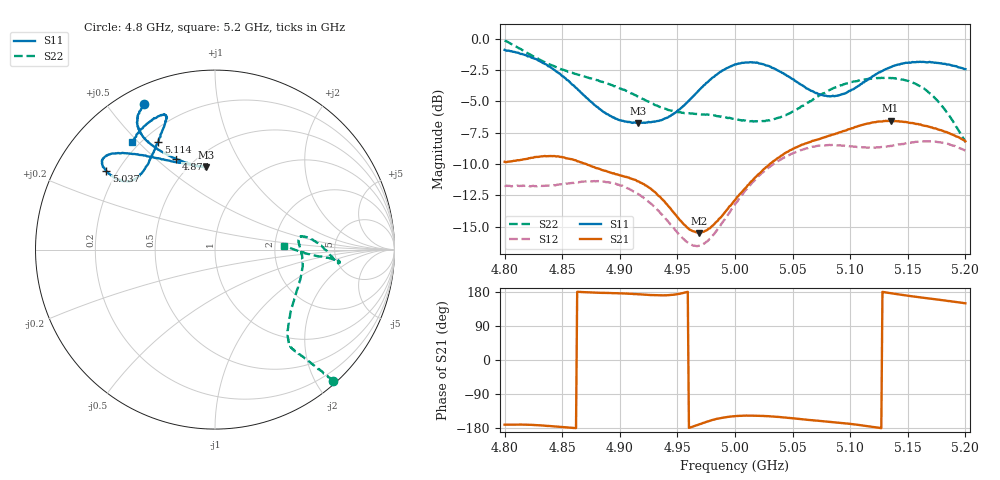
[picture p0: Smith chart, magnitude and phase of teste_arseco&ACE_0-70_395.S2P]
! Network Analyzer HP8722D
! Hewlett-Packard
! Data name: Linha & Wilkinson
! Saver's name: Rodrigo Anjos
! Comments: Teste da utilização de aquisição
! continua pelo VNA HP8722D
! Time and date: 8/5/2025 16:03
!  Frequency  S11  S21  S12  S22
# HZ  S  MA R 50
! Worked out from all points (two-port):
!   401 points, 4.8 GHz to 5.2 GHz, reference 50 ohm
!   highest |S21| = -6.54 dB at 5.135 GHz (marker M1); lowest = -15.5 dB at 4.969 GHz (marker M2)
!   |S21| within 3 dB of the highest: 4.821 GHz to 4.854 GHz (33.13 MHz wide, 0.685 % of centre); 5.037 GHz to end of sweep
!   lowest |S11| = -6.7 dB at 4.916 GHz (marker M3), VSWR 2.71, Z = 30 + j34.9 ohm
!   |S11| at or under -10 dB: nowhere
!   |S22| runs from -8.3 to -0.2 dB; largest |S21 - S12| = 0.83
!   S11 on the Smith chart (normalised r, x): 4.8 GHz: 0.07, +0.62; 4.877 GHz: 0.40, +0.58; 5.037 GHz: 0.16, +0.32; 5.114 GHz: 0.26, +0.57; 5.2 GHz: 0.17, +0.48
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4.8e9  0.9011 115.9  0.3229 -170.7  0.2587 -86.2  0.9824 -48.0
4.817e9  0.8622 119.9  0.3306 -170.7  0.259 -82.5  0.8904 -48.9
4.835e9  0.7921 122.4  0.3406 -173.2  0.2591 -76.8  0.8043 -50.1
4.867e9  0.6047 117.5  0.3208 179.2  0.2692 -67.9  0.7118 -51.9
4.877e9  0.5489 113.1  0.308 177.9  0.2704 -66.9  0.6896 -52.2
4.899e9  0.4743 101.5  0.2863 175.8  0.2618 -67.4  0.6371 -50.4
4.916e9  0.4611 96.3  0.2699 173.4  0.2403 -69.1  0.5868 -45.9
4.934e9  0.4699 100.1  0.2357 170.6  0.2053 -70.0  0.5357 -37.0
4.957e9  0.5485 116.3  0.1798 178.3  0.1565 -59.8  0.5052 -21.7
4.969e9  0.6234 124.1  0.1683 -169.7  0.1497 -46.5  0.4997 -14.8
4.981e9  0.7012 130.5  0.1804 -158.1  0.1649 -33.0  0.4933 -8.7
5e9  0.7885 137.4  0.2272 -148.3  0.2189 -21.6  0.4777 -0.3
5.018e9  0.8006 141.8  0.2807 -146.9  0.2757 -18.8  0.4681 5.7
5.037e9  0.7467 144.2  0.3338 -150.1  0.3242 -19.1  0.4826 8.7
5.067e9  0.6177 141.9  0.391 -158.8  0.3706 -21.4  0.5685 3.9
5.088e9  0.5918 132.9  0.4189 -164.7  0.3758 -24.6  0.6406 -2.6
5.114e9  0.6789 117.7  0.4573 -174.0  0.3681 -27.4  0.6877 -6.2
5.134e9  0.7649 111.0  0.4691 176.8  0.3727 -29.6  0.6964 -5.6
5.135e9  0.7684 111.1  0.4708 176.4  0.3738 -29.6  0.6963 -5.5
5.162e9  0.8065 112.8  0.4525 164.7  0.3895 -36.4  0.6406 -4.4
5.18e9  0.7943 119.0  0.4295 157.9  0.3848 -42.0  0.537 -3.1
5.2e9  0.755 127.6  0.3899 149.7  0.3581 -47.5  0.3863 3.4
